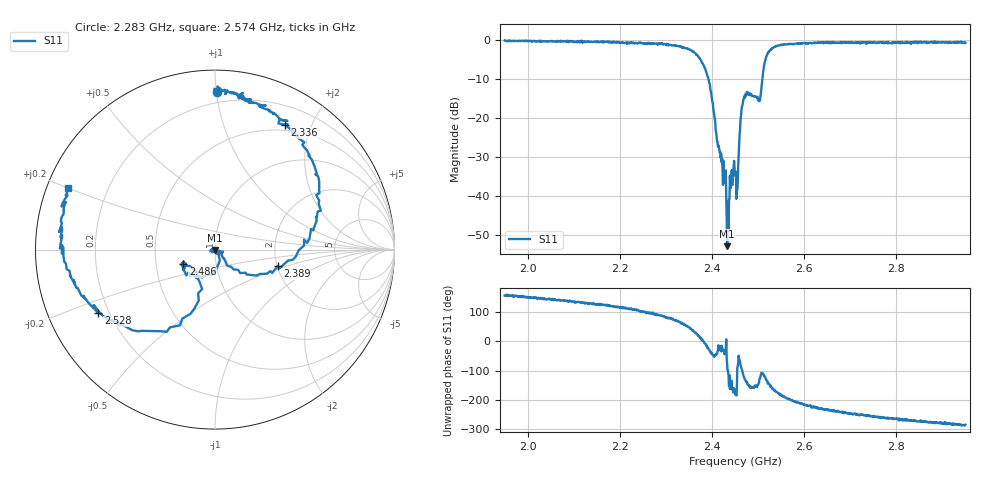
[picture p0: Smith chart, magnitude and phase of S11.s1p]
#  HZ  S  DB  R  50.0
! Rohde & Schwarz ZVL
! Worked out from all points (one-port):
!   1001 points, 1.95 GHz to 2.95 GHz, reference 50 ohm
!   lowest |S11| = -52.9 dB at 2.433 GHz (marker M1), VSWR 1.00, Z = 50 - j0.222 ohm
!   |S11| at or under -10 dB: 2.392 GHz to 2.509 GHz (117.2 MHz wide, 4.78 % of centre)
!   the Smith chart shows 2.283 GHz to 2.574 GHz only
!   S11 on the Smith chart (normalised r, x): 2.283 GHz: 0.13, +1.00; 2.336 GHz: 0.42, +1.63; 2.389 GHz: 2.01, -0.43; 2.486 GHz: 0.69, -0.12; 2.528 GHz: 0.16, -0.25; 2.574 GHz: 0.06, +0.20
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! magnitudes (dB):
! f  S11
! 1.95 GHz  -0.2
! 2.075 GHz  -0.4
! 2.2 GHz  -0.7
! 2.283 GHz  -1.1
! 2.325 GHz  -1.6
! 2.336 GHz  -2.0
! 2.368 GHz  -4.0
! 2.389 GHz  -8.8
! 2.397 GHz  -13.0
! 2.412 GHz  -26.1
! 2.425 GHz  -31.0
! 2.433 GHz  -52.9
! 2.437 GHz  -41.0
! 2.444 GHz  -37.3
! 2.45 GHz  -34.7
! 2.455 GHz  -38.6
! 2.463 GHz  -19.6
! 2.468 GHz  -15.4
! 2.475 GHz  -14.1
! 2.486 GHz  -14.2
! 2.502 GHz  -15.7
! 2.516 GHz  -5.2
! 2.528 GHz  -2.6
! 2.574 GHz  -1.0
! 2.575 GHz  -1.2
! 2.7 GHz  -0.7
! 2.825 GHz  -0.7
! 2.95 GHz  -0.8
